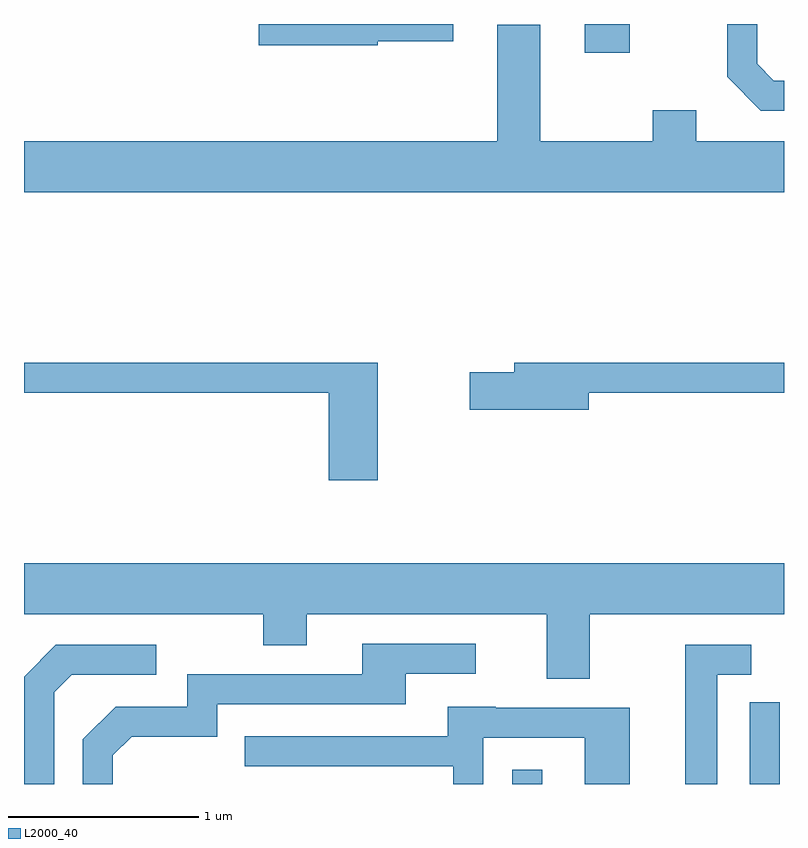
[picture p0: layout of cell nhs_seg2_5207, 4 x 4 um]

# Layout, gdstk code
import gdstk
lib = gdstk.Library(unit=1e-6, precision=1e-09)
def R(c, l, rs):  # rectangles x0, y0, x1, y1
    for r in rs: c.add(gdstk.rectangle(r[:2], r[2:], *l))
def P(c, l, *ps):  # polygons
    for p in ps: c.add(gdstk.Polygon(p, *l))
L2000_40 = (2000, 40)

nhs_seg2_5207 = lib.new_cell('nhs_seg2_5207')
R(nhs_seg2_5207, L2000_40, [(340.181,1111.802,340.339,1111.878), (341.431,1111.802,341.589,1112.233), (340.561,1115.651,340.798,1115.802)])
P(nhs_seg2_5207, L2000_40, [(339.474,1115.711),(339.869,1115.711),(339.869,1115.802),(338.846,1115.802),(338.846,1115.691),(339.474,1115.691)],
  [(341.611,1115.504),(341.557,1115.504),(341.469,1115.592),(341.469,1115.802),(341.311,1115.802),(341.311,1115.524),(341.489,1115.346),(341.611,1115.346)],
  [(341.611,1115.184),(341.149,1115.184),(341.149,1115.349),(340.921,1115.349),(340.921,1115.184),(340.329,1115.184),(340.329,1115.799),(340.101,1115.799),(340.101,1115.184),(337.611,1115.184),(337.611,1114.916),(341.611,1114.916)],
  [(339.474,1114.019),(337.611,1114.019),(337.611,1113.861),(339.216,1113.861),(339.216,1113.401),(339.474,1113.401)],
  [(340.584,1113.861),(341.611,1113.861),(341.611,1114.019),(340.191,1114.019),(340.191,1113.969),(339.956,1113.969),(339.956,1113.771),(340.584,1113.771)],
  [(340.589,1112.696),(341.611,1112.696),(341.611,1112.964),(337.611,1112.964),(337.611,1112.696),(338.871,1112.696),(338.871,1112.531),(339.099,1112.531),(339.099,1112.696),(340.361,1112.696),(340.361,1112.356),(340.589,1112.356)],
  [(338.079,1111.954),(338.177,1112.051),(338.629,1112.051),(338.629,1112.221),(339.619,1112.221),(339.619,1112.381),(339.988,1112.381),(339.988,1112.539),(339.391,1112.539),(339.391,1112.379),(338.471,1112.379),(338.471,1112.209),(338.094,1112.209),(337.921,1112.037),(337.921,1111.802),(338.079,1111.802)],
  [(337.769,1112.284),(337.862,1112.376),(338.308,1112.376),(338.308,1112.534),(337.779,1112.534),(337.611,1112.367),(337.611,1111.802),(337.769,1111.802)],
  [(341.259,1112.376),(341.438,1112.376),(341.438,1112.534),(341.091,1112.534),(341.091,1111.802),(341.259,1111.802)],
  [(340.029,1112.046),(340.561,1112.046),(340.561,1111.802),(340.799,1111.802),(340.799,1112.204),(340.095,1112.204),(340.095,1112.209),(339.841,1112.209),(339.841,1112.054),(338.773,1112.054),(338.773,1111.896),(339.871,1111.896),(339.871,1111.802),(340.029,1111.802)])

lib.write_gds('nhs_seg2_5207.gds')
